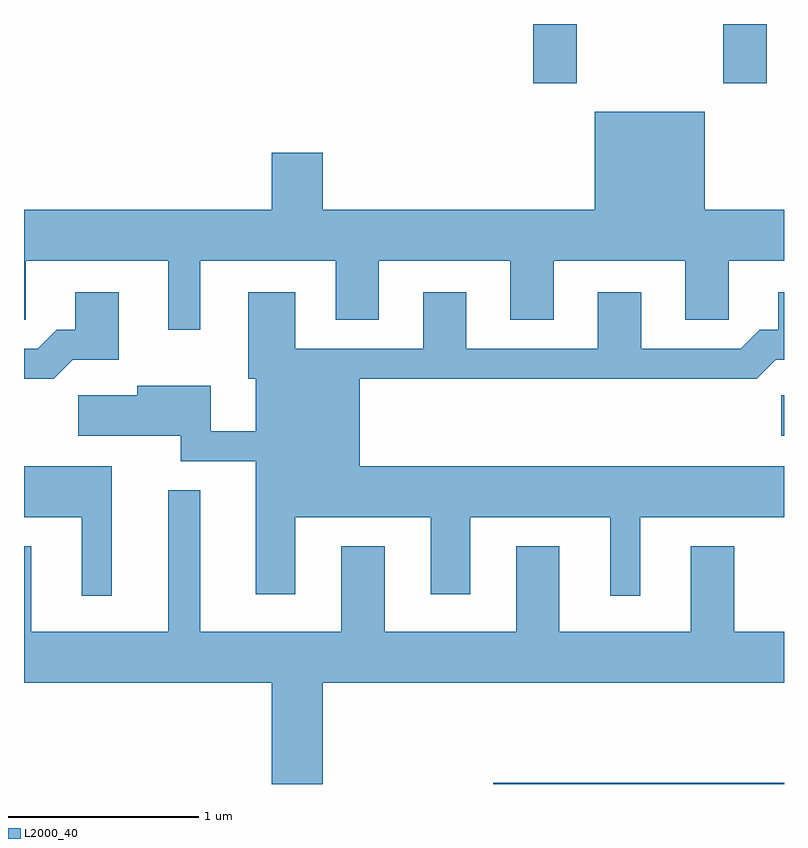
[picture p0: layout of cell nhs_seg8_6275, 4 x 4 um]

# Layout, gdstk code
import gdstk
lib = gdstk.Library(unit=1e-6, precision=1e-09)
def R(c, l, rs):  # rectangles x0, y0, x1, y1
    for r in rs: c.add(gdstk.rectangle(r[:2], r[2:], *l))
def P(c, l, *ps):  # polygons
    for p in ps: c.add(gdstk.Polygon(p, *l))
L2000_40 = (2000, 40)

nhs_seg8_6275 = lib.new_cell('nhs_seg8_6275')
R(nhs_seg8_6275, L2000_40, [(376.081,1820.342,377.611,1820.349), (377.596,1822.176,377.611,1822.389), (376.291,1824.031,376.519,1824.342), (377.291,1824.031,377.519,1824.342)])
P(nhs_seg8_6275, L2000_40, [(376.616,1823.364),(375.184,1823.364),(375.184,1823.664),(374.916,1823.664),(374.916,1823.364),(373.611,1823.364),(373.611,1822.786),(373.619,1822.786),(373.619,1823.096),(374.371,1823.096),(374.371,1822.733),(374.539,1822.733),(374.539,1823.096),(375.251,1823.096),(375.251,1822.786),(375.479,1822.786),(375.479,1823.096),(376.171,1823.096),(376.171,1822.786),(376.399,1822.786),(376.399,1823.096),(377.091,1823.096),(377.091,1822.786),(377.319,1822.786),(377.319,1823.096),(377.611,1823.096),(377.611,1823.364),(377.194,1823.364),(377.194,1823.879),(376.616,1823.879)],
  [(373.867,1822.576),(374.109,1822.576),(374.109,1822.929),(373.881,1822.929),(373.881,1822.734),(373.784,1822.734),(373.684,1822.634),(373.611,1822.634),(373.611,1822.476),(373.767,1822.476)],
  [(376.854,1821.746),(377.611,1821.746),(377.611,1822.014),(375.379,1822.014),(375.379,1822.476),(377.467,1822.476),(377.567,1822.576),(377.611,1822.576),(377.611,1822.929),(377.581,1822.929),(377.581,1822.734),(377.484,1822.734),(377.384,1822.634),(376.859,1822.634),(376.859,1822.929),(376.631,1822.929),(376.631,1822.634),(375.939,1822.634),(375.939,1822.929),(375.711,1822.929),(375.711,1822.634),(375.039,1822.634),(375.039,1822.929),(374.791,1822.929),(374.791,1822.476),(374.831,1822.476),(374.831,1822.199),(374.594,1822.199),(374.594,1822.439),(374.206,1822.439),(374.206,1822.389),(373.896,1822.389),(373.896,1822.176),(374.436,1822.176),(374.436,1822.041),(374.831,1822.041),(374.831,1821.341),(375.039,1821.341),(375.039,1821.746),(375.751,1821.746),(375.751,1821.341),(375.959,1821.341),(375.959,1821.746),(376.696,1821.746),(376.696,1821.333),(376.854,1821.333)],
  [(374.074,1822.014),(373.611,1822.014),(373.611,1821.746),(373.916,1821.746),(373.916,1821.333),(374.074,1821.333)],
  [(375.184,1820.876),(377.611,1820.876),(377.611,1821.144),(377.349,1821.144),(377.349,1821.594),(377.121,1821.594),(377.121,1821.144),(376.429,1821.144),(376.429,1821.594),(376.201,1821.594),(376.201,1821.144),(375.509,1821.144),(375.509,1821.594),(375.281,1821.594),(375.281,1821.144),(374.539,1821.144),(374.539,1821.888),(374.371,1821.888),(374.371,1821.144),(373.649,1821.144),(373.649,1821.594),(373.611,1821.594),(373.611,1820.876),(374.916,1820.876),(374.916,1820.342),(375.184,1820.342)])

lib.write_gds('nhs_seg8_6275.gds')
